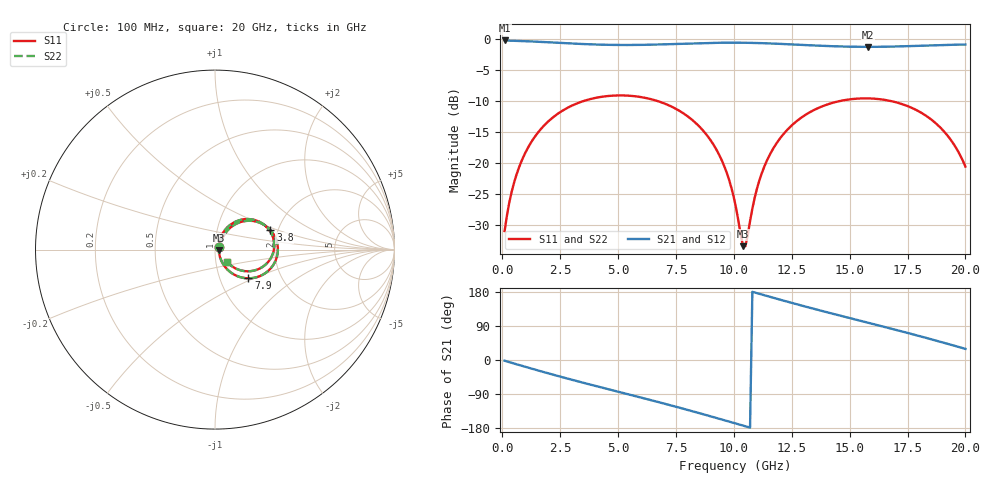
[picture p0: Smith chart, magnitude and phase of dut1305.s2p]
! Touchstone file exported from HFSS 2026.1.0
!  File:  C:/ffzhzh/LocalFiles/Ansys_Project_Files/temp_train_TSV_RDL_1305_1783334380_30076.aedt
!  Generated:  06:54:15 PM Jul  6, 2026
!  Design:  TSV_RDL
!  Project:  temp_train_TSV_RDL_1305_1783334380_30076
! Variables:
!  h_bsmrdl = 3.55um
!  h_ox = 20um
!  h_rdl = 5um
!  h_sub = 74.87um
!  h_tmrdl = 5.17um
!  h_tsv = 74.87um
!  h_via = 3um
!  l_bsmrdl = 619.94um
!  l_sub = 5695.69um
!  l_tmrdl = 825.15um
!  m_sub = 200um
!  pitch = 34.48um
!  r_tsv = 3.58um
!  s_tmrdl = 10um
!  w_bsmrdl = 25.67um
!  w_sub = 500um
!  w_tmrdl = 19.42um
!  x_tsv_center1 = 834.86um
!  x_tsv_center2 = 1480.47um
!  x_tsv_center3 = 2325.04um
!  x_tsv_center4 = 2970.65um
!  x_tsv_center5 = 3815.22um
!  x_tsv_center6 = 4460.83um
# GHz S MA R 50.000000
! Terminal data exported
! Port[1] = TM_RDL1_1_T1
! Port[2] = TM_RDL5_1_T1
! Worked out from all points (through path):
!   200 points, 100 MHz to 20 GHz, reference 50 ohm
!   highest |S21| = -0.21 dB at 100 MHz (marker M1); lowest = -1.2 dB at 15.8 GHz (marker M2)
!   group delay of S21, straight-line fit = 45.7 ps
!   lowest |S11| = -33.5 dB at 10.4 GHz (marker M3), VSWR 1.04, Z = 52.1 - j0.442 ohm
!   |S11| at or under -10 dB: start of sweep to 3.525 GHz; 6.687 GHz to 14.6 GHz (7.913 GHz wide, 74.3 % of centre); 16.76 GHz to end of sweep
!   |S22| runs from -33.5 to -9.1 dB; largest |S21 - S12| = 2.3e-14
!   S11 on the Smith chart (normalised r, x): 100 MHz: 1.05, +0.03; 3.8 GHz: 1.82, +0.45; 7.9 GHz: 1.36, -0.47; 20 GHz: 1.13, -0.15
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0.1  0.028 28.4  0.9757 -1.9  0.9757 -1.9  0.028 28.4
! Gamma 0 0 0 0
! Port Impedance 50 0 50 0
0.5  0.06809 55.8  0.9694 -9.2  0.9694 -9.2  0.06809 55.8
1.2  0.1415 55.7  0.959 -21.6  0.959 -21.6  0.1415 55.7
2.2  0.2337 43.1  0.9388 -38.8  0.9388 -38.8  0.2337 43.1
3.5  0.3152 23.9  0.9125 -60.1  0.9125 -60.1  0.3152 24.0
3.8  0.3272 19.5  0.9078 -64.9  0.9078 -64.9  0.3272 19.5
5.3  0.3499 -2.5  0.8966 -88.3  0.8966 -88.3  0.3499 -2.5
6.8  0.3112 -24.6  0.9055 -112.0  0.9055 -112.0  0.3112 -24.5
7.9  0.2452 -40.8  0.9195 -130.0  0.9195 -130.0  0.2452 -40.8
9.3  0.1224 -58.9  0.9343 -153.9  0.9343 -153.9  0.1224 -58.9
9.8  0.07214 -60.5  0.9362 -162.6  0.9362 -162.6  0.07215 -60.4
10.1  0.0426 -53.3  0.9361 -167.9  0.9361 -167.9  0.04263 -53.2
10.4  0.02112 -11.6  0.9351 -173.1  0.9351 -173.1  0.0212 -11.5
10.5  0.02114 16.1  0.9346 -174.9  0.9346 -174.9  0.02123 16.1
11  0.06176 63.5  0.9303 176.4  0.9303 176.4  0.06181 63.5
11.5  0.111 64.0  0.9239 167.7  0.9239 167.7  0.111 63.9
12.3  0.1839 55.2  0.9103 154.1  0.9103 154.1  0.184 55.1
13.4  0.2634 39.8  0.8898 136.0  0.8898 136.0  0.2634 39.8
15.8  0.3315 5.6  0.8662 98.3  0.8662 98.3  0.3315 5.6
16.7  0.3178 -7.1  0.8695 84.2  0.8695 84.2  0.3178 -7.1
18.7  0.2103 -35.0  0.8926 51.8  0.8926 51.8  0.2103 -35.0
20  0.09309 -45.8  0.905 29.4  0.905 29.4  0.09315 -45.7
